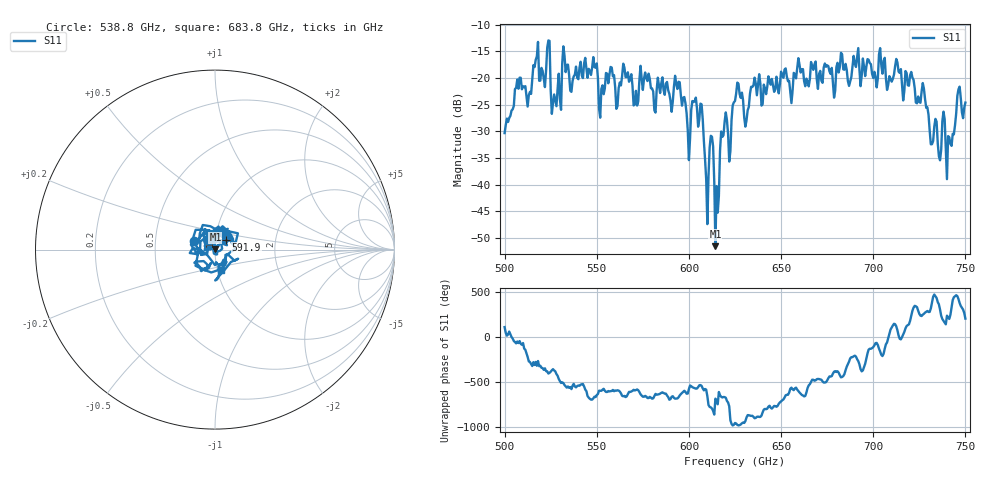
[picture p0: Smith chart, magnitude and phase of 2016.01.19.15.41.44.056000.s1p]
!Created with skrf (http://scikit-rf.org).
# GHz S RI R 50.0
!freq ReS11 ImS11
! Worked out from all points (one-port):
!   401 points, 500 GHz to 750 GHz, reference 50 ohm
!   lowest |S11| = -51.5 dB at 614.4 GHz (marker M1), VSWR 1.01, Z = 50.2 + j0.144 ohm
!   |S11| at or under -10 dB: start of sweep to end of sweep
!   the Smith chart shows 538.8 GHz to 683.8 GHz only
!   S11 on the Smith chart (normalised r, x): 538.8 GHz: 0.78, +0.07; 591.9 GHz: 1.13, +0.12; 683.8 GHz: 1.03, -0.24
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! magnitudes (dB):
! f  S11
! 500 GHz  -30.4
! 507.5 GHz  -22.0
! 513.1 GHz  -23.2
! 516.9 GHz  -16.6
! 523.8 GHz  -13.0
! 526.9 GHz  -23.1
! 531.2 GHz  -17.3
! 538.8 GHz  -17.9
! 562.5 GHz  -20.9
! 591.9 GHz  -21.6
! 593.8 GHz  -22.1
! 599.4 GHz  -29.9
! 602.5 GHz  -24.5
! 606.9 GHz  -25.0
! 609.4 GHz  -39.0
! 612.5 GHz  -31.0
! 614.4 GHz  -51.5
! 615.6 GHz  -45.3
! 618.8 GHz  -30.7
! 622.5 GHz  -33.7
! 625 GHz  -24.3
! 631.2 GHz  -28.0
! 656.2 GHz  -22.4
! 683.8 GHz  -18.4
! 687.5 GHz  -20.6
! 718.8 GHz  -21.4
! 735.6 GHz  -34.7
! 750 GHz  -24.6
